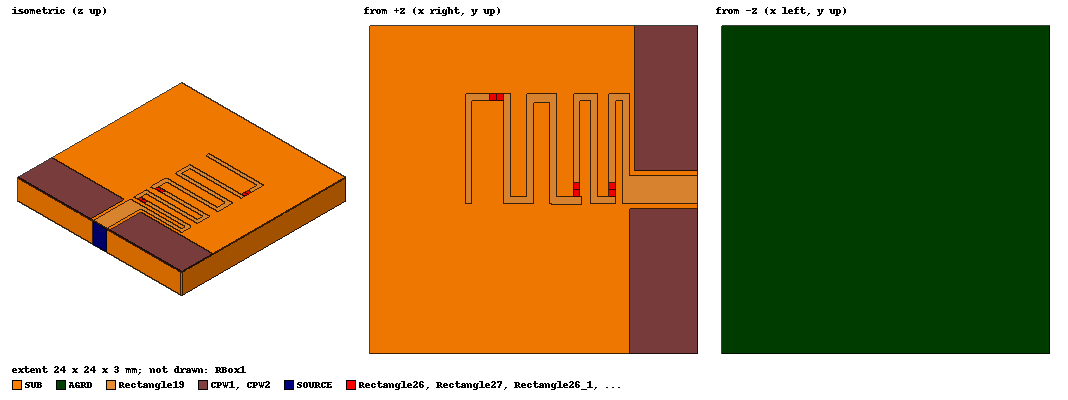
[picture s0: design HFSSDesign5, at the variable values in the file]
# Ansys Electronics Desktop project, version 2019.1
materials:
  Rogers RT/duroid 5880 (tm): permittivity=2.2 dielectric_loss_tangent=0.0009
  vacuum: permittivity=1

design HFSSDesign5 (HFSS, DrivenModal, model units mm)
options: Calculate_Lossy_Dielectrics
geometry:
  AGRD = rectangle(corner=(-12mm, -12mm, 0mm), x_size=24mm, y_size=24mm)
  SUB [Rogers RT/duroid 5880 (tm)] = box(corner=(-12mm, -12mm, 0mm), size=(24mm, 24mm, 3mm))
  SOURCE = rectangle(corner=(12mm, -1mm, 0mm), y_size=2mm, z_size=3mm)
  RBox1 [vacuum] = box(corner=(-35mm, -35mm, -20mm), size=(70mm, 70mm, 40mm))
  CPW1 = rectangle(corner=(12mm, -12mm, 3mm), x_size=-5mm, y_size=10.6mm)
  CPW2 = rectangle(corner=(12mm, 12mm, 3mm), x_size=-4.6mm, y_size=-10.6mm)
  Rectangle19 = rectangle(corner=(12mm, 1mm, 3mm), x_size=-5mm, y_size=-2mm)
  Rectangle20 = rectangle(corner=(6.5mm, -1mm, 3mm), x_size=0.5mm, y_size=8mm)
  Rectangle21 = rectangle(corner=(6.5mm, 7mm, 3mm), x_size=-1mm, y_size=-0.5mm)
  Rectangle22 = rectangle(corner=(6mm, 7mm, 3mm), x_size=-0.5mm, y_size=-8mm)
  Rectangle19.unite(Rectangle20, Rectangle21, Rectangle22)
  Rectangle23 = rectangle(corner=(4.2mm, -1mm, 3mm), x_size=1.6mm, y_size=0.5mm)
  Rectangle24 = rectangle(corner=(4.2mm, -1mm, 3mm), x_size=0.5mm, y_size=8mm)
  Rectangle19.unite(Rectangle23, Rectangle24)
  Rectangle25 = rectangle(corner=(5.5mm, -0.5mm, 3mm), x_size=0.5mm, y_size=1mm)
  Rectangle19.subtract(Rectangle25)
  Rectangle26 = rectangle(corner=(5.5mm, 0.5mm, 3mm), x_size=0.5mm, y_size=-0.5mm)
  Rectangle27 = rectangle(corner=(5.5mm, 0mm, 3mm), x_size=0.5mm, y_size=-0.5mm)
  Rectangle28 = rectangle(corner=(4.7mm, 7mm, 3mm), x_size=-1.6mm, y_size=-0.5mm)
  Rectangle29 = rectangle(corner=(2.9mm, 7mm, 3mm), x_size=0.5mm, y_size=-6.5mm)
  Rectangle19.unite(Rectangle28, Rectangle29)
  Rectangle32 = rectangle(corner=(3.5mm, -0.5mm, 3mm), x_size=-2.2mm, y_size=-0.6mm)
  Rectangle33 = rectangle(corner=(1.2mm, -1mm, 3mm), x_size=0.5mm, y_size=8mm)
  Rectangle32.unite(Rectangle33)
  Rectangle26_1 = Rectangle26.duplicate_along_line(step=(-2.6mm, 0mm, 0mm), total=2)
  Rectangle27_1 = Rectangle27.duplicate_along_line(step=(-2.6mm, 0mm, 0mm), total=2)
  Rectangle19.unite(Rectangle32)
  Rectangle34 = rectangle(corner=(1.7mm, 7mm, 3mm), x_size=-2.2mm, y_size=-0.6mm)
  Rectangle35 = rectangle(corner=(-0.5mm, 7mm, 3mm), x_size=0.5mm, y_size=-8mm)
  Rectangle19.unite(Rectangle34, Rectangle35)
  Rectangle36 = rectangle(corner=(0mm, -1mm, 3mm), x_size=-2.2mm, y_size=0.5mm)
  Rectangle37 = rectangle(corner=(-2.2mm, -1mm, 3mm), x_size=0.5mm, y_size=8mm)
  Rectangle19.unite(Rectangle36, Rectangle37)
  Rectangle38 = rectangle(corner=(-2.2mm, 7mm, 3mm), x_size=-0.5mm, y_size=-0.5mm)
  Rectangle39 = rectangle(corner=(-2.7mm, 7mm, 3mm), x_size=-0.5mm, y_size=-0.5mm)
  Rectangle40 = rectangle(corner=(-4.5mm, 7mm, 3mm), x_size=-0.5mm, y_size=-8mm)
  Rectangle19.unite(Rectangle40)
  Rectangle41 = rectangle(corner=(-3.2mm, 7mm, 3mm), x_size=-1.3mm, y_size=-0.5mm)
  Rectangle19.unite(Rectangle41)
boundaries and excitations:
  PerfE1: Perfect E Objects=AGRD
  PerfE2: Perfect E Objects=[CPW1, CPW2]
  Rad1: Radiation Objects=RBox1
  PerfE3: Perfect E Objects=Rectangle19
  L1: Lumped RLC Objects=Rectangle26 CurrentLine{middle of Rectangle26.edge(y at corner) -> middle of Rectangle26.edge(y opposite corner)} Inductance=0.5nH
  RC1: Lumped RLC Objects=Rectangle27 CurrentLine{middle of Rectangle27.edge(y at corner) -> Rectangle27.edge(y opposite corner) at 0.55 along} Resistance=4ohm
  L2: Lumped RLC Objects=Rectangle26_1 CurrentLine{middle of Rectangle26_1.edge(1 of 4) -> middle of Rectangle26_1.edge(3 of 4)} Inductance=0.5nH
  RC2: Lumped RLC Objects=Rectangle27_1 CurrentLine{middle of Rectangle27_1.edge(1 of 4) -> middle of Rectangle27_1.edge(3 of 4)} Resistance=4ohm
  L3: Lumped RLC Objects=Rectangle38 CurrentLine{middle of Rectangle38.edge(x at corner) -> middle of Rectangle38.edge(x opposite corner)} Inductance=0.5nH
  RC3: Lumped RLC Objects=Rectangle39 CurrentLine{middle of Rectangle39.edge(x at corner) -> middle of Rectangle39.edge(x opposite corner)} Resistance=4ohm
  1: Lumped Port Objects=SOURCE Modes{Mode1{IntLine{middle of SOURCE.edge(z at corner) -> middle of SOURCE.edge(z opposite corner)} CharImp=Zpi RenormImp=100ohm}} Impedance=100ohm
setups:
  Setup1: HfssDriven AdaptMultipleFreqs MultipleAdaptiveFreqsSetup{6.8GHz(0.02) 9.3GHz(0.02) 15.2GHz(0.02) 23GHz(0.02)} MaximumPasses=10 MinimumPasses=1 MinimumConvergedPasses=1 PercentRefinement=30 BasisOrder=1 PortAccuracy=2
    sweep Sweep: 1GHz to 25GHz, 451 points; Type=Fast SaveFields
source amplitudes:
  1:1: 1W 0deg
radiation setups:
  Infinite Sphere1: Infinite Sphere Theta=0deg..360deg step 5deg Phi=-180deg..180deg step 5deg
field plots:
  Mag_E1: E Field over Rectangle19.face(all 4) on Setup1 : LastAdaptive at Freq=6.8GHz Phase=0deg
  Mag_Jsurf1: Jsurf over Rectangle19.face(all 4) on Setup1 : LastAdaptive at Freq=6.8GHz Phase=0deg
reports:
  S Parameter Plot 1: ONOFFOFF, ONOFFON, ONONOFF, ONONON, OFFOFFON vs Freq; markers m1 at 9.32GHz
  S Parameter Plot 2: dB(S(1,1)) vs Freq on Setup1 : Sweep
  S Parameter Plot 3: dB(S(1,1)) vs Freq on Setup1 : Sweep; markers m1 at 7.4GHz
